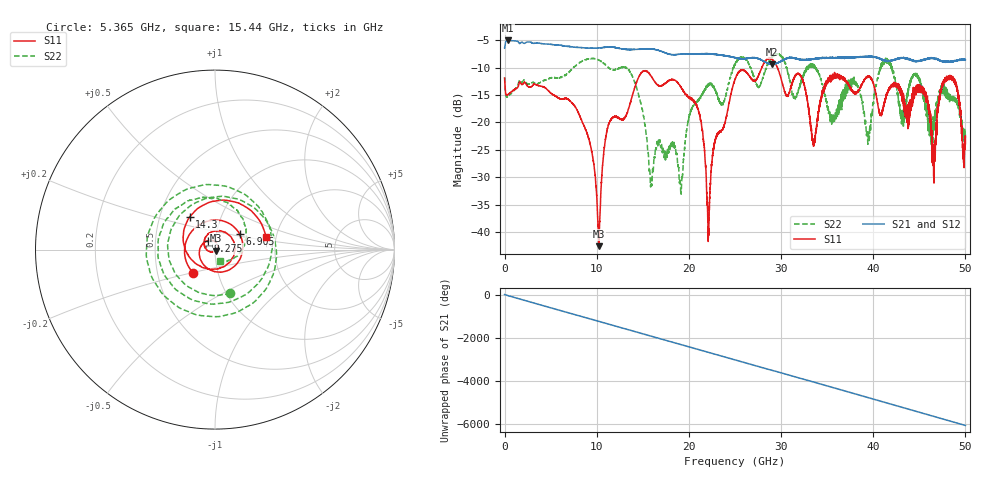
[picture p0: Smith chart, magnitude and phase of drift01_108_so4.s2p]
!Created with skrf (http://scikit-rf.org).
# Hz S RI R 50.0
!freq ReS11 ImS11 ReS21 ImS21 ReS12 ImS12 ReS22 ImS22
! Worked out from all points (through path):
!   10001 points, 300 kHz to 50 GHz, reference 50 ohm
!   highest |S21| = -5.05 dB at 325.3 MHz (marker M1); lowest = -9.4 dB at 28.98 GHz (marker M2)
!   group delay of S21, straight-line fit = 336 ps
!   lowest |S11| = -42.6 dB at 10.22 GHz (marker M3), VSWR 1.02, Z = 50.5 - j0.526 ohm
!   |S11| at or under -10 dB: start of sweep to 27.91 GHz; 29.6 GHz to end of sweep
!   |S22| runs from -33.1 to -7.5 dB; largest |S21 - S12| = 0.014
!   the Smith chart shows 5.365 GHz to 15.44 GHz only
!   S11 on the Smith chart (normalised r, x): 5.365 GHz: 0.76, -0.20; 6.905 GHz: 1.30, +0.23; 9.275 GHz: 0.92, +0.09; 14.3 GHz: 0.71, +0.27; 15.44 GHz: 1.77, +0.26
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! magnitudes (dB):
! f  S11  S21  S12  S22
! 300 kHz  -11.9  -6.5  -6.5  -11.7
! 325.3 MHz  -15.0  -5.1  -5.1  -15.3
! 5.365 GHz  -15.0  -5.9  -5.8  -11.8
! 6.905 GHz  -15.8  -6.1  -6.1  -11.0
! 8.335 GHz  -19.5  -6.4  -6.3  -8.9
! 9.275 GHz  -24.0  -6.4  -6.4  -8.3
! 10.22 GHz  -42.6  -6.4  -6.4  -8.6
! 11.23 GHz  -20.7  -6.3  -6.2  -9.9
! 14.3 GHz  -12.8  -6.7  -6.7  -13.6
! 15.44 GHz  -10.7  -6.6  -6.6  -22.9
! 16.67 GHz  -13.3  -6.9  -6.8  -23.3
! 19.14 GHz  -13.6  -7.6  -7.6  -33.0
! 20.86 GHz  -17.0  -7.5  -7.5  -16.2
! 22.13 GHz  -39.7  -7.5  -7.5  -13.3
! 25 GHz  -12.1  -8.2  -8.2  -9.5
! 28.98 GHz  -8.4  -9.4  -9.4  -8.2
! 33.34 GHz  -22.5  -8.5  -8.4  -9.5
! 39.47 GHz  -11.7  -8.0  -7.9  -22.0
! 41.67 GHz  -13.9  -8.8  -8.8  -9.1
! 46.55 GHz  -25.8  -8.3  -8.3  -20.1
! 48.56 GHz  -12.1  -8.9  -8.8  -15.8
! 50 GHz  -23.9  -8.6  -8.6  -23.1
